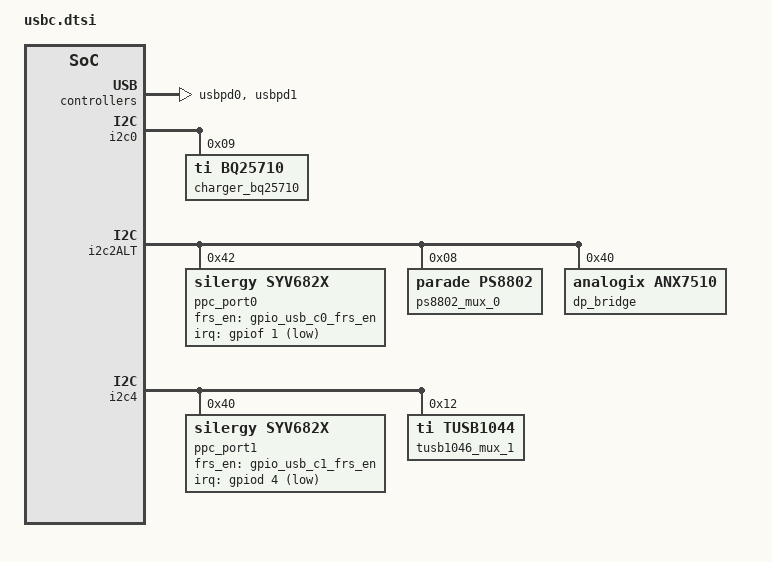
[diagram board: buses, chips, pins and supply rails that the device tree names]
/* Copyright 2023 The ChromiumOS Authors
 * Use of this source code is governed by a BSD-style license that can be
 * found in the LICENSE file.
 */

/ {
	usbc {
		#address-cells = <1>;
		#size-cells = <0>;

		port0@0 {
			compatible = "named-usbc-port";
			reg = <0>;
			chg = <&charger_bq25710>;
			tcpc = <&usbpd0>;
			ppc = <&ppc_port0>;
			usb-mux-chain-0 {
				compatible = "cros-ec,usb-mux-chain";
				usb-muxes = <&ps8802_mux_0 &virtual_mux_0>;
			};
		};

		port0-muxes {
			virtual_mux_0: virtual-mux-0 {
				compatible = "cros-ec,usbc-mux-virtual";
			};
		};

		port1@1 {
			compatible = "named-usbc-port";
			reg = <1>;
			tcpc = <&usbpd1>;
			ppc = <&ppc_port1>;
			usb-mux-chain-1 {
				compatible = "cros-ec,usb-mux-chain";
				usb-muxes = <&tusb1046_mux_1 &virtual_mux_1>;
			};
		};

		port1-muxes {
			virtual_mux_1: virtual-mux-1 {
				compatible = "cros-ec,usbc-mux-virtual";
			};
		};
	};
};

&usbpd0 {
	status = "okay";
};

&usbpd1 {
	status = "okay";
};

&i2c0 {
	charger_bq25710: bq25710@9 {
		compatible = "ti,bq25710";
		status = "okay";
		reg = <0x9>;
	};
};

&i2c2ALT {
	ppc_port0: syv682x@42 {
		compatible = "silergy,syv682x";
		status = "okay";
		reg = <0x42>;
		frs_en_gpio = <&gpio_usb_c0_frs_en>;
		/* a duplicate of the <&usb_c0_ppc_int_odl> node in
		 * "named-gpios". This is the Zephyr preferred style,
		 * the "named-gpios" node will be dealt with at a later date.
		 */
		 irq-gpios = <&gpiof 1 GPIO_ACTIVE_LOW>;
	};

	ps8802_mux_0: ps8802-mx-0@8 {
		compatible = "parade,ps8802";
		status = "okay";
		reg = <0x8>;
	};

	dp_bridge: anx7510-bridge@40 {
		compatible = "analogix,anx7510";
		status = "okay";
		reg = <0x40>;
	};
};

&i2c4 {
	ppc_port1: syv682x@40 {
		compatible = "silergy,syv682x";
		status = "okay";
		reg = <0x40>;
		frs_en_gpio = <&gpio_usb_c1_frs_en>;
		/* a duplicate of the <&usb_c1_ppc_int_odl> node in
		 * "named-gpios". This is the Zephyr preferred style,
		 * the "named-gpios" node will be dealt with at a later date.
		 */
		irq-gpios = <&gpiod 4 GPIO_ACTIVE_LOW>;
	};

	tusb1046_mux_1: tusb1046-mux-1@12 {
		compatible = "ti,tusb1044";
		status = "okay";
		reg = <0x12>;
	};
};
